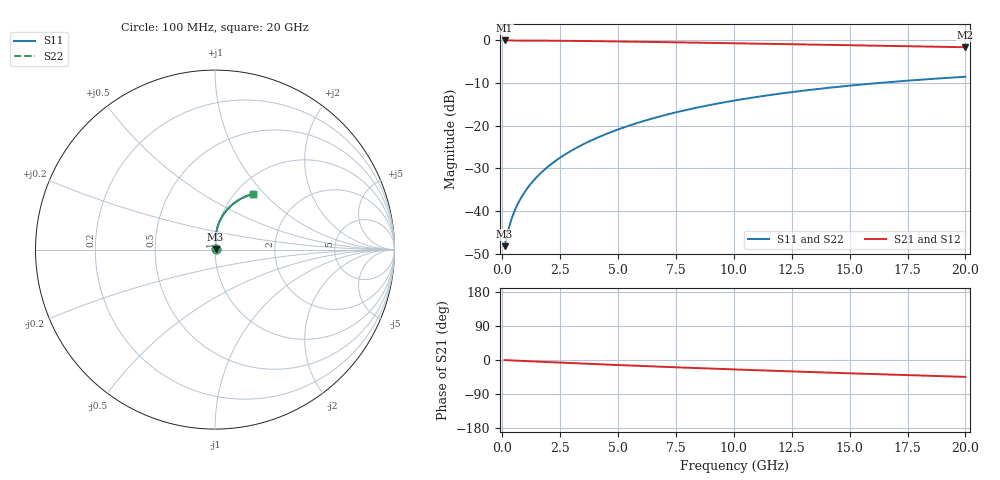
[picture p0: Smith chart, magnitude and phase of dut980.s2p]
! Touchstone file exported from HFSS 2024.1.0
!  File:  C:/UserFiles/LocalFiles/RDL_TSV_Batchsim/temp_RDL_bottom_980_1779943427.aedt
!  Generated:  12:46:32 PM May 28, 2026
!  Design:  RDL_bottom
!  Project:  temp_RDL_bottom_980_1779943427
!  Setup:  Setup1
!  Solution:  Sweep
! Variables:
!  dtsv = 10.80580581um
!  hbump = 3um
!  htsv = 81.29um
!  ldown = 615.08um
!  lrdl = 100um
!  p = 40
!  p1 = 58.17um
!  rhole = 1um
!  t = 450um
!  tdown = 2.51um
!  trdl = 3.915915916um
!  wdown = 28.11um
!  wrdl = 20um
# GHz S MA R 50.000000
! Terminal data exported
! Port[1] = RDL1_T1
! Port[2] = RDL1_T2
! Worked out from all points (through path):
!   200 points, 100 MHz to 20 GHz, reference 50 ohm
!   highest |S21| = -0.03 dB at 100 MHz (marker M1); lowest = -1.6 dB at 20 GHz (marker M2)
!   group delay of S21, straight-line fit = 6.12 ps
!   lowest |S11| = -48.2 dB at 100 MHz (marker M3), VSWR 1.01, Z = 50.3 + j0.19 ohm
!   |S11| at or under -10 dB: start of sweep to 16.24 GHz
!   |S22| runs from -48.2 to -8.5 dB; largest |S21 - S12| = 2.6e-15
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0.1  0.003898 29.0  0.9966 -0.3  0.9966 -0.3  0.003898 29.0
! Gamma 0 0 0 0
! Port Impedance 50 0 50 0
0.3  0.006597 55.6  0.9961 -0.9  0.9961 -0.9  0.006597 55.6
0.4  0.008101 61.4  0.9959 -1.1  0.9959 -1.1  0.008101 61.4
0.5  0.009611 65.4  0.9956 -1.4  0.9956 -1.4  0.009611 65.4
0.6  0.01112 68.4  0.9954 -1.7  0.9954 -1.7  0.01112 68.4
0.8  0.01418 72.8  0.9949 -2.2  0.9949 -2.2  0.01418 72.8
1  0.01729 75.9  0.9944 -2.8  0.9944 -2.8  0.01729 75.9
1.2  0.02046 78.2  0.9938 -3.3  0.9938 -3.3  0.02046 78.2
1.7  0.02863 81.9  0.992 -4.7  0.992 -4.7  0.02863 81.9
2.2  0.03713 84.0  0.9897 -6.1  0.9897 -6.1  0.03713 84.0
2.8  0.04778 85.5  0.9864 -7.7  0.9864 -7.7  0.04778 85.5
3.5  0.06078 86.2  0.9819 -9.5  0.9819 -9.5  0.06079 86.3
4.2  0.07438 86.4  0.9767 -11.3  0.9767 -11.3  0.07439 86.4
5  0.09054 85.9  0.9702 -13.3  0.9702 -13.3  0.09056 85.9
5.9  0.1093 84.9  0.9624 -15.5  0.9624 -15.5  0.1093 84.9
6.8  0.1285 83.5  0.9542 -17.6  0.9542 -17.6  0.1285 83.5
8.4  0.163 80.4  0.9393 -21.3  0.9393 -21.3  0.163 80.4
10.1  0.1991 76.7  0.9231 -25.0  0.9231 -25.0  0.1991 76.8
11.7  0.2319 73.2  0.9078 -28.4  0.9078 -28.4  0.232 73.2
13.4  0.2652 69.4  0.8916 -31.9  0.8916 -31.9  0.2653 69.4
16.7  0.324 62.3  0.8606 -38.4  0.8606 -38.4  0.3242 62.3
20  0.3749 55.7  0.8305 -44.5  0.8305 -44.5  0.3751 55.7
